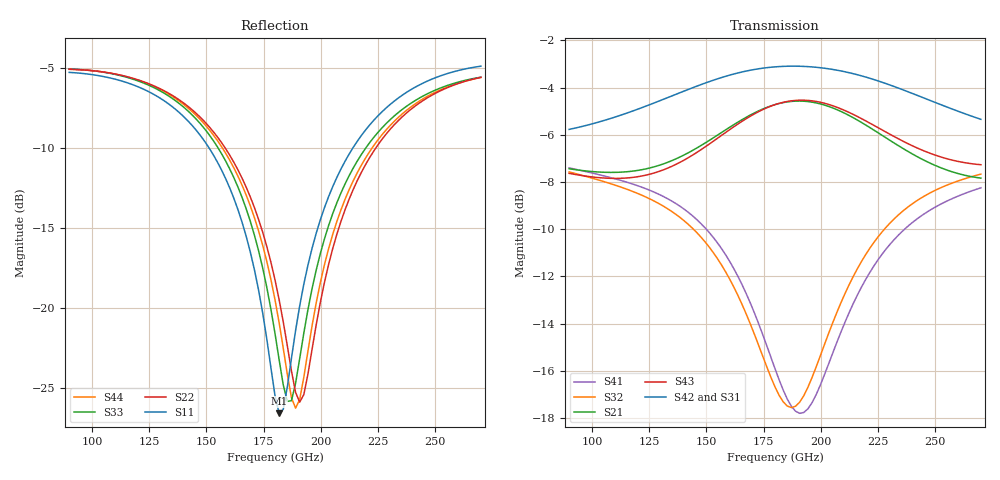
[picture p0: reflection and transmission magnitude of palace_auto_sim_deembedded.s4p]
! Created with skrf 2.0.1 (http://scikit-rf.org).
# GHz S DB R 50.0
!freq dBS11 angS11 dBS12 angS12 dBS13 angS13
! dBS14 angS14
! dBS21 angS21 dBS22 angS22 dBS23 angS23
! dBS24 angS24
! dBS31 angS31 dBS32 angS32 dBS33 angS33
! dBS34 angS34
! dBS41 angS41 dBS42 angS42 dBS43 angS43
! dBS44 angS44
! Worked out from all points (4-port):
!   101 points, 90 GHz to 270 GHz, reference 50 ohm
!   strongest paths, dB at 90 GHz, 135 GHz, 180 GHz, 225 GHz, 270 GHz:
!     S42: -5.8, -4.3, -3.1, -3.7, -5.3
!     S31: -5.7, -4.2, -3.1, -4.0, -5.7
!     S43: -7.6, -7.3, -4.7, -5.7, -7.3
!     S21: -7.4, -7.1, -4.7, -5.9, -7.8
!     S32: -7.6, -9.3, -16.7, -10.3, -7.7
!     S41: -7.4, -8.8, -15.9, -11.3, -8.2
!   lowest |S11| = -26.6 dB at 181.8 GHz (marker M1), VSWR 1.10, Z = 54.6 + j1.7 ohm
!   |S11| at or under -10 dB: 151.2 GHz to 214 GHz (62.77 GHz wide, 34.4 % of centre)
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90  -5.26 165.5  -7.44 -46.3  -5.68 -76.5  -7.40 -59.2
    -7.44 -46.3  -5.07 158.0  -7.57 -62.3  -5.77 -79.8
    -5.68 -76.5  -7.57 -62.3  -5.05 157.2  -7.63 -49.0
    -7.40 -59.2  -5.77 -79.8  -7.63 -49.0  -5.06 157.7
153  -10.41 120.0  -6.13 -65.7  -3.50 -138.4  -10.35 -105.2
     -6.13 -65.7  -8.96 110.4  -10.99 -108.2  -3.69 -142.5
     -3.50 -138.4  -10.99 -108.2  -9.52 105.9  -6.27 -67.9
     -10.35 -105.2  -3.69 -142.5  -6.27 -67.9  -9.17 108.8
169.2  -16.50 95.5  -5.16 -76.4  -3.12 -158.4  -13.13 -115.1
       -5.16 -76.4  -13.05 90.0  -14.02 -115.4  -3.26 -162.3
       -3.12 -158.4  -14.02 -115.4  -14.58 82.0  -5.21 -78.9
       -13.13 -115.1  -3.26 -162.3  -5.21 -78.9  -13.61 87.3
181.8  -26.59 19.4  -4.67 -87.5  -3.06 -174.4  -16.39 -110.3
       -4.67 -87.5  -19.48 62.3  -17.04 -104.6  -3.11 -178.3
       -3.06 -174.4  -17.04 -104.6  -23.23 37.4  -4.67 -90.3
       -16.39 -110.3  -3.11 -178.3  -4.67 -90.3  -20.92 55.3
190.8  -19.87 -59.8  -4.57 -96.2  -3.12 174.3  -17.81 -92.7
       -4.57 -96.2  -25.89 -6.6  -17.33 -85.0  -3.09 170.2
       -3.12 174.3  -17.33 -85.0  -23.16 -58.7  -4.53 -99.2
       -17.81 -92.7  -3.09 170.2  -4.53 -99.2  -25.72 -31.1
212.4  -10.37 -97.0  -5.18 -115.8  -3.59 148.1  -13.54 -68.8
       -5.18 -115.8  -13.20 -105.6  -12.36 -72.0  -3.37 142.8
       -3.59 148.1  -12.36 -72.0  -11.73 -114.6  -5.05 -119.2
       -13.54 -68.8  -3.37 142.8  -5.05 -119.2  -12.60 -110.0
270  -4.87 -139.6  -7.84 -140.7  -5.66 89.6  -8.25 -107.1
     -7.84 -140.7  -5.57 -160.4  -7.67 -116.7  -5.34 80.1
     -5.66 89.6  -7.67 -116.7  -5.56 -164.0  -7.27 -147.2
     -8.25 -107.1  -5.34 80.1  -7.27 -147.2  -5.58 -162.3
